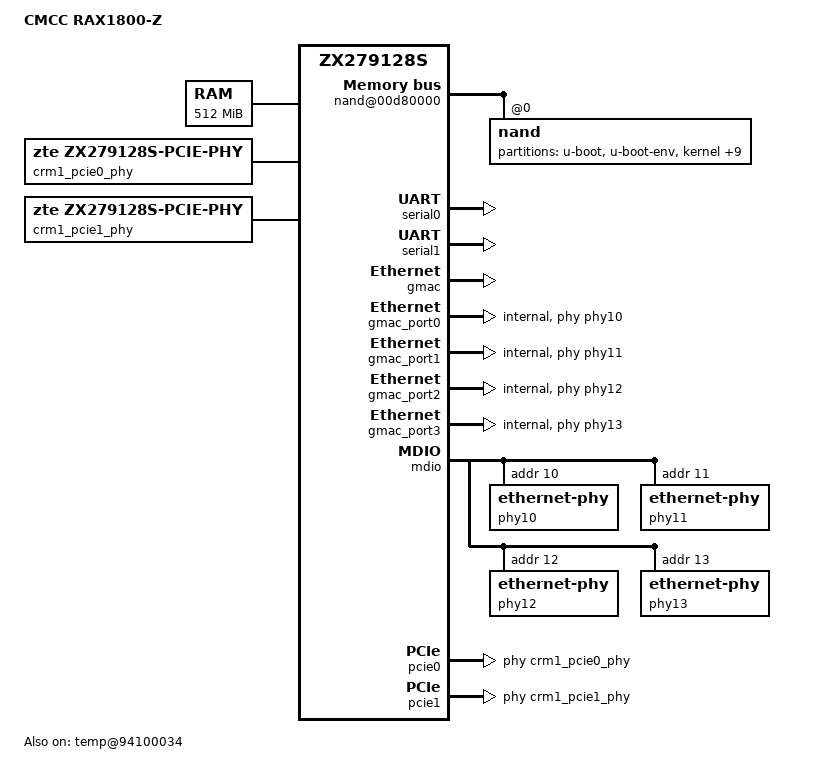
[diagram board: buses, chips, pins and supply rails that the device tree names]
// SPDX-License-Identifier: GPL-2.0-only OR BSD-2-Clause
/*
 * CMCC RAX1800-Z (CMIT:2021AP99, 2021-10-10) on the Sanechips ZX279128R SoC.
 *
 * Everything below was read off the real hardware:
 *  - register addresses / interrupt numbers / clock references come from the
 *    STOCK vendor device tree, exported live over TTL from
 *    /sys/firmware/devicetree/base (269 properties, see
 *    _dl/nand_backup/analysis/devicetree.md in the working repo)
 *  - the NAND node compatible "denali,denali-nand-dt" is the stock mainline
 *    Denali DT binding, so no driver port is needed - only
 *    CONFIG_MTD_NAND_DENALI(_DT) in the kernel config
 *  - flash geometry measured from the dump: 128 MiB parallel SLC NAND,
 *    2 KiB pages, 64 B OOB, 128 KiB erase blocks, ZERO bad blocks
 *
 * Differences vs the ZXHN H3600 / E2631 boards this base tree targets:
 *  - 512 MiB DRAM (they have 256 MiB)
 *  - PARALLEL Denali NAND instead of SPI-NAND via spifc
 *  - 12 partitions, A/B slots at kernel0@0x200000/kernel1@0x700000
 *  - external switch/PHY stack (sw@92300000 + gephy128s@9b000000) instead of
 *    the SoC-internal 4 GbE PHYs - ethernet bring-up is the big unknown
 *  - MT7915 (not MT7916) on PCIe; wlan/caldata partition starts all 0xFF
 *
 * Slot policy: OpenWrt owns slot A (kernel0 + rootfs0); slot B
 * (kernel1 + rootfs1) stays STOCK and is the rollback path.  The U-Boot env
 * decides which one boots, so B is never touched by any OpenWrt write.
 */

/dts-v1/;

#include "zte/zx279128s.dtsi"
#include <dt-bindings/gpio/gpio.h>

/ {
	model = "CMCC RAX1800-Z";
	compatible = "cmcc,rax1800-z", "zte,zx279128r", "zte,zx279128s";

	aliases {
		serial0 = &serial0;
		ethernet0 = &gmac;
	};

	/*
	 * The stock U-Boot passes its own bootargs (root=/dev/mtdblock6, the
	 * vendor slot B rootfs).  CONFIG_CMDLINE_FORCE overrides them; the
	 * chosen/bootargs line below is the belt to that suspenders.  ROOTDEV
	 * counts partition ROWS in the fixed-partitions table below:
	 * u-boot=0, u-boot-env=1, kernel=2, rootfs=3 -> /dev/mtdblock3.
	 */
	chosen {
		bootargs = "console=ttyAMA0,115200n8 root=/dev/mtdblock3 rootfstype=squashfs ro rootwait";
	};

	/* stock DT: /memory@40000000 reg = <0x40000000 0x20000000> */
	memory@40000000 {
		device_type = "memory";
		reg = <0x40000000 0x20000000>;
	};

	/*
	 * Linux 6.18 denali_dt_probe() calls devm_clk_get_enabled() for THREE
	 * NAMED clocks ("nand", "nand_x", "ecc") and derives the NAND timing
	 * from their rates.  The stock DT only has one &topcrm 0x31 clock whose
	 * ID space the mainline clock driver does not implement, and a missing
	 * clock makes probe fail outright (not defer).  Three fixed-clocks keep
	 * probe deterministic.
	 *
	 * Rates matter: denali_setup_data_interface() (drivers/mtd/nand/raw/
	 * denali.c, ~line 791) rejects the probe with -EINVAL unless
	 *   mult_x = clk_x_rate / clk_rate   is in [4, 6]
	 * BEFORE it even issues READID.  An earlier 200/100 MHz pair gave
	 * mult_x = 0.5 and produced "Failed to configure data interface" +
	 * "No NAND device found".  50 MHz core / 200 MHz bus gives mult_x = 4.
	 *
	 * Verified on hardware (v8.1 RAM boot): S34ML01G2 128 MiB SLC detected,
	 * 12 MTD partitions created, mtd0 read back byte-for-byte identical to
	 * _dl/nand_backup/nand_full_128MiB.bin, and a 64-page dd read with no
	 * ECC errors.  These are the exact values from that boot, not guesses.
	 */
	nand_clk: nand-clk {
		compatible = "fixed-clock";
		#clock-cells = <0>;
		clock-frequency = <50000000>;
	};

	nand_x_clk: nand-x-clk {
		compatible = "fixed-clock";
		#clock-cells = <0>;
		clock-frequency = <200000000>;
	};

	nand_ecc_clk: nand-ecc-clk {
		compatible = "fixed-clock";
		#clock-cells = <0>;
		clock-frequency = <200000000>;
	};
};

/* The console UART - without this the kernel goes silent at "Starting kernel". */
&serial0 {
	status = "okay";
};

&serial1 {
	status = "okay";
};

/*
 * Parallel NAND via the mainline Denali DT driver.
 * Register addresses / IRQ / reg-names come from the stock vendor DT.
 *
 * Linux 6.18 changes that matter here (measured on real hardware, v7):
 *  - of_match_table no longer contains the generic "denali,denali-nand-dt";
 *    patch 035 restores it with a ZTE .data entry.  Without it the device
 *    never binds, and a forced bind hits WARN_ON(!data) -> -EINVAL.
 *  - probe requires the three named clocks above; they are NOT optional.
 *  - denali_dt_chip_init() walks every DIRECT child as a NAND chip and reads
 *    its "reg" as the bank list, so fixed-partitions must live one level
 *    deeper, inside a chip node.  A bare partitions child fails with -EINVAL.
 */
&{/soc} {
	nand@00d80000 {
		compatible = "denali,denali-nand-dt";
		reg = <0x00d80000 0x07c00000>, <0x00d00000 0x00080000>;
		reg-names = "nand_data", "denali_reg";
		interrupts = <0 20 4>;
		clocks = <&nand_clk>, <&nand_x_clk>, <&nand_ecc_clk>;
		clock-names = "nand", "nand_x", "ecc";
		dma-mask = <0xffffffff>;
		status = "okay";

		#address-cells = <1>;
		#size-cells = <1>;

		nand@0 {
			reg = <0>;
			#address-cells = <1>;
			#size-cells = <1>;

		partitions {
			compatible = "fixed-partitions";
			#address-cells = <1>;
			#size-cells = <1>;

			/* 0x00000000-0x00180000: U-Boot code. NEVER write this. */
			u_boot: partition@0 {
				label = "u-boot";
				reg = <0x00000000 0x00180000>;
				read-only;
			};

			/* 0x00180000-0x001a0000: live U-Boot env (128 KiB, CRC-checked).
			 * Kept writable so fw_setenv can switch the boot slot. */
			u_boot_env: partition@180000 {
				label = "u-boot-env";
				reg = <0x00180000 0x00020000>;
			};

			/* ---- slot A: OpenWrt ---- */
			partition@200000 {
				label = "kernel";
				reg = <0x00200000 0x00500000>;
			};

			/* squashfs lands here; erase blocks behind it become the
			 * writable rootfs_data overlay (mainline squashfs-split). */
			partition@c00000 {
				label = "rootfs";
				reg = <0x00c00000 0x02000000>;
			};

			/* ---- slot B: untouched stock system (rollback) ---- */
			kernel1_b: partition@700000 {
				label = "kernel1-stock";
				reg = <0x00700000 0x00500000>;
				read-only;
			};

			rootfs1_b: partition@2c00000 {
				label = "rootfs1-stock";
				reg = <0x02c00000 0x02000000>;
				read-only;
			};

			/* ---- vendor data areas ---- */
			partition@4c00000 {
				label = "parameter-tags";
				reg = <0x04c00000 0x00200000>;
			};

			partition@4e00000 {
				label = "usercfg";
				reg = <0x04e00000 0x00500000>;
			};

			/* BootPara lives in the first 72 bytes of this partition */
			partition@5300000 {
				label = "others";
				reg = <0x05300000 0x00100000>;
			};

			partition@5400000 {
				label = "wlan";
				reg = <0x05400000 0x00300000>;
			};

			partition@5700000 {
				label = "middleware";
				reg = <0x05700000 0x00100000>;
			};

			partition@5800000 {
				label = "versionbackup";
				reg = <0x05800000 0x02000000>;
			};

			/* 0x07800000-0x08000000 unpartitioned tail, all 0xFF */
		};
		};  /* nand@0 chip node */
	};
};

/*
 * ETHERNET.  v7 measured "zx279128s-eth 92000000.ethernet: error -ENODEV:
 * no usable port": every gmac_portN ships status="disabled" in the SoC dtsi
 * and the board DTS never enabled one, so the driver had nothing to register.
 * Enable four ports the way the sibling E2631 board does; the fifth stays off.
 *
 * RAX1800-Z uses an external switch block (sw@92300000, "zte,zx279127-sw")
 * plus four gephy128s windows, so these MDIO addresses are a hypothesis.
 * Verify on the next RAM boot with
 *   ls /sys/bus/mdio_bus/devices ; dmesg | grep -i -e gmac -e phy ; ip link
 * A board whose network does not work is still usable over serial + WiFi and
 * this does not block the flash path.
 */
&gmac {
	status = "okay";
};

&gmac_port0 {
	label = "lan3";
	phy-handle = <&phy10>;
	phy-mode = "internal";
	status = "okay";
};

&gmac_port1 {
	label = "lan2";
	phy-handle = <&phy11>;
	phy-mode = "internal";
	status = "okay";
};

&gmac_port2 {
	label = "lan1";
	phy-handle = <&phy12>;
	phy-mode = "internal";
	status = "okay";
};

&gmac_port3 {
	label = "wan";
	phy-handle = <&phy13>;
	phy-mode = "internal";
	status = "okay";
};

&gmac_port4 {
	status = "disabled";
};

&mdio {
	status = "okay";

	phy10: ethernet-phy@a {
		reg = <10>;
	};

	phy11: ethernet-phy@b {
		reg = <11>;
	};

	phy12: ethernet-phy@c {
		reg = <12>;
	};

	phy13: ethernet-phy@d {
		reg = <13>;
	};
};

/* WiFi: MT7915 on PCIe (stock /kmodule/mt7915_ap.ko confirms the chip).
 * The vendor wlan/caldata partition starts with 64 KiB of 0xFF, so mt76 will
 * have to fall back to OTP or a placeholder calibration - bring this up with
 * the serial console attached before trusting it. */
/ {
	soc {
		/*
		 * SoC on-die temperature sensor.  The register window, the
		 * four-step CFG pulse sequence and the non-linear calibration
		 * were recovered from the OEM 4.1.25 kernel (temp_zx.c) and
		 * verified on hardware: /proc/tempsensor reported 37..38 C at
		 * ADC 755..756.  /soc is simple-bus with an empty ranges (1:1),
		 * so this reg maps straight to physical 0x94100034.
		 *
		 * kmod-rax1800z-thermal binds here and registers a hwmon
		 * temp1_input.  The three OEM interrupts are threshold/selector
		 * groups, not separate sensors - this driver polls, so none are
		 * listed.  No clocks: dmesg showed "work clock 0".
		 */
		temp@94100034 {
			compatible = "zxic,tempsensor";
			reg = <0x94100034 0x0000000c>;
			status = "okay";
		};

		/*
		 * Second handle for the 0x94000000 block, same trick as the
		 * E2631 port: the topcrm node is claimed by CLK_OF_DECLARE and
		 * marked OF_POPULATED, so of_platform_bus_create refuses to
		 * descend and none of its children (pcie phys, syscon-reboot)
		 * ever become devices.  A syscon+simple-mfd duplicate lets the
		 * bus walk populate them.  Addresses are identical - both
		 * drivers find their regmap through the parent.
		 */
		crm1: syscon@94000000 {
			compatible = "syscon", "simple-mfd";
			reg = <0x94000000 0x1000>;
			#address-cells = <1>;
			#size-cells = <0>;

			crm1_pcie0_phy: phy@0 {
				compatible = "zte,zx279128s-pcie-phy";
				reg = <0>;
				#phy-cells = <0>;
			};

			crm1_pcie1_phy: phy@1 {
				compatible = "zte,zx279128s-pcie-phy";
				reg = <1>;
				#phy-cells = <0>;
			};
		};
	};
};

&pcie0 {
	phys = <&crm1_pcie0_phy>;
	phy-names = "pcie";
	status = "okay";
};

&pcie1 {
	phys = <&crm1_pcie1_phy>;
	phy-names = "pcie";
	status = "okay";
};

/* Stock kernel ships "# CONFIG_USB is not set"; keep USB off for the same
 * hang-safety reason the E2631 port did. */
&usb {
	status = "disabled";
};

/* Serialize PL310 maintenance with protected MMIO, same as E2631. */
&l2cc {
	zte,l2c-io-read-lock;
};
